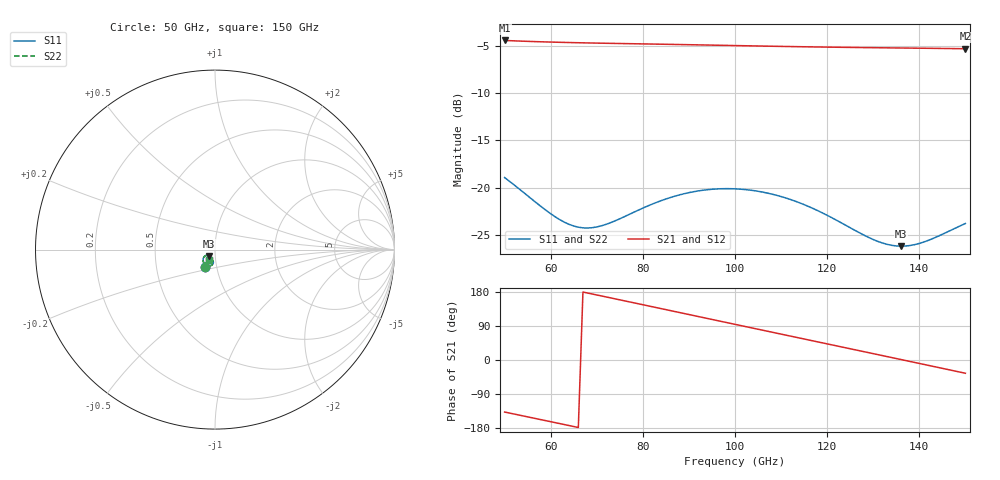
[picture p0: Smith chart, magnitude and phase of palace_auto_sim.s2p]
#  GHZ S DB R 50
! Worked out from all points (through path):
!   101 points, 50 GHz to 150 GHz, reference 50 ohm
!   highest |S21| = -4.40 dB at 50 GHz (marker M1); lowest = -5.3 dB at 150 GHz (marker M2)
!   group delay of S21, straight-line fit = 7.16 ps
!   lowest |S11| = -26.2 dB at 136 GHz (marker M3), VSWR 1.10, Z = 46.6 - j3.31 ohm
!   |S11| at or under -10 dB: start of sweep to end of sweep
!   |S22| runs from -26.1 to -18.9 dB; largest |S21 - S12| = 6.7e-14
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50  -18.93 -120.0  -4.40 -137.3  -4.40 -137.3  -18.89 -120.1
55  -20.86 -123.2  -4.50 -150.1  -4.50 -150.1  -20.82 -123.3
59  -22.41 -122.1  -4.56 -160.3  -4.56 -160.3  -22.36 -122.2
63  -23.67 -117.1  -4.61 -170.5  -4.61 -170.5  -23.62 -117.1
67  -24.26 -109.4  -4.66 179.3  -4.66 179.3  -24.21 -109.4
71  -24.05 -102.1  -4.69 169.1  -4.69 169.1  -23.99 -102.0
75  -23.30 -98.0  -4.73 158.8  -4.73 158.8  -23.23 -97.8
79  -22.39 -97.4  -4.76 148.4  -4.76 148.4  -22.32 -97.2
84  -21.38 -100.5  -4.80 135.5  -4.80 135.5  -21.29 -100.3
92  -20.35 -110.3  -4.87 114.8  -4.87 114.8  -20.25 -110.0
96  -20.14 -116.3  -4.91 104.5  -4.91 104.5  -20.03 -116.0
100  -20.13 -122.5  -4.95 94.1  -4.95 94.1  -20.01 -122.2
108  -20.68 -134.5  -5.02 73.5  -5.02 73.5  -20.55 -134.2
112  -21.25 -139.7  -5.05 63.2  -5.05 63.2  -21.10 -139.4
117  -22.22 -144.9  -5.09 50.3  -5.09 50.3  -22.06 -144.6
126  -24.52 -147.1  -5.15 27.1  -5.15 27.1  -24.33 -147.0
131  -25.70 -142.3  -5.18 14.2  -5.18 14.2  -25.52 -142.3
134  -26.11 -137.4  -5.19 6.4  -5.19 6.4  -25.95 -137.5
136  -26.20 -133.7  -5.20 1.3  -5.20 1.3  -26.05 -133.8
139  -26.04 -128.3  -5.22 -6.5  -5.22 -6.5  -25.91 -128.4
143  -25.38 -123.0  -5.24 -16.9  -5.24 -16.9  -25.27 -122.9
150  -23.80 -120.6  -5.28 -35.0  -5.28 -35.0  -23.70 -120.3
